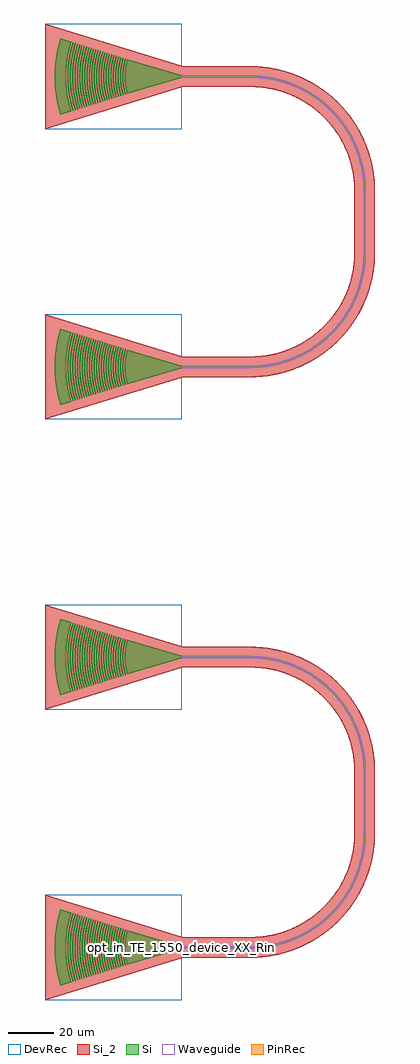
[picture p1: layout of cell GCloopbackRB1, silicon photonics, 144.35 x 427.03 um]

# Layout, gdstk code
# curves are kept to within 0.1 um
import gdstk
lib = gdstk.Library(unit=1e-6, precision=1e-09)
def R(c, l, rs):  # rectangles x0, y0, x1, y1
    for r in rs: c.add(gdstk.rectangle(r[:2], r[2:], *l))
def P(c, l, *ps):  # polygons
    for p in ps: c.add(gdstk.Polygon(p, *l))
Si = (1, 0)
Si_2 = (1, 2)
PinRec = (1, 10)
Waveguide = (1, 99)
DevRec = (68, 0)

waveguide_126 = lib.new_cell('Waveguide$126')
P(waveguide_126, Si, [(59.858,253.5),(59.858,254.5),(90.303,254.502),(94.737,254.742),(98.259,255.218),(102.168,256.055),(105.997,257.205),(109.312,258.484),(113.705,260.623),(118.23,263.438),(122.091,266.433),(125.636,269.792),(128.834,273.486),(131.652,277.477),(134.064,281.726),(136.044,286.192),(137.203,289.551),(138.214,293.419),(138.91,297.355),(139.287,301.336),(139.356,331.445),(139.071,336.321),(138.562,339.838),(137.803,343.31),(136.796,346.718),(135.548,350.045),(134.064,353.274),(132.351,356.389),(130.42,359.372),(128.28,362.209),(125.636,365.208),(123.09,367.687),(120.021,370.249),(116.756,372.554),(113.314,374.59),(110.127,376.16),(106.417,377.649),(102.598,378.833),(97.382,379.925),(91.635,380.468),(59.858,380.5),(59.858,381.5),(92.123,381.45),(96.188,381.102),(100.21,380.427),(104.164,379.432),(108.026,378.118),(112.986,375.893),(118.056,372.894),(122.741,369.327),(126.671,365.569),(130.174,361.412),(133.44,356.512),(136.114,351.264),(138.025,346.173),(139.546,340.018),(140.015,336.879),(140.285,333.718),(140.35,303.093),(140.112,299.021),(139.463,294.537),(138.416,290.129),(136.976,285.832),(134.751,280.872),(132.252,276.56),(129.341,272.514),(126.044,268.775),(122.048,265.089),(118.056,262.106),(113.788,259.53),(109.289,257.388),(105.464,255.972),(101.536,254.868),(97.981,254.157),(93.933,253.665),(90.311,253.502)])
P(waveguide_126, Si_2, [(59.858,249.5),(59.858,258.5),(90.267,258.502),(94.751,258.764),(99.184,259.466),(103.139,260.481),(107.361,262.001),(111.417,263.932),(114.925,266.028),(118.226,268.426),(121.303,271.114),(124.122,274.062),(126.67,277.258),(129.126,281.016),(131.029,284.631),(132.599,288.396),(133.607,291.5),(134.392,294.674),(135,298.299),(135.293,301.554),(135.356,331.409),(135.094,335.893),(134.627,339.121),(133.928,342.317),(133.003,345.448),(131.857,348.503),(130.492,351.473),(128.707,354.687),(126.906,357.413),(124.916,360.004),(122.462,362.737),(119.796,365.264),(117.262,367.322),(114.238,369.416),(111.059,371.259),(108.116,372.676),(104.696,374.013),(101.175,375.07),(96.372,376.031),(91.493,376.471),(59.858,376.5),(59.858,385.5),(90.347,385.498),(93.766,385.36),(97.656,384.939),(101.508,384.24),(104.826,383.405),(108.55,382.195),(113.942,379.89),(119.469,376.754),(124.596,372.994),(128.91,369.015),(133.07,364.212),(136.391,359.371),(139.378,353.761),(141.537,348.306),(142.523,345.026),(143.299,341.693),(143.928,337.833),(144.25,334.426),(144.356,303.511),(144.139,299.112),(143.481,294.265),(142.523,289.974),(141.053,285.308),(138.962,280.356),(136.391,275.629),(133.37,271.182),(129.587,266.693),(125.714,262.956),(121.495,259.622),(116.541,256.479),(111.726,254.08),(107.624,252.477),(103.409,251.212),(99.111,250.291),(94.746,249.719),(90.347,249.502)])
P(waveguide_126, Waveguide, [(59.858,253.5),(59.858,254.5),(90.303,254.502),(94.737,254.742),(98.259,255.218),(102.168,256.055),(105.997,257.205),(109.312,258.484),(113.705,260.623),(118.23,263.438),(122.091,266.433),(125.636,269.792),(128.834,273.486),(131.652,277.477),(134.064,281.726),(136.044,286.192),(137.203,289.551),(138.214,293.419),(138.91,297.355),(139.287,301.336),(139.356,331.445),(139.071,336.321),(138.562,339.838),(137.803,343.31),(136.796,346.718),(135.548,350.045),(134.064,353.274),(132.351,356.389),(130.42,359.372),(128.28,362.209),(125.636,365.208),(123.09,367.687),(120.021,370.249),(116.756,372.554),(113.314,374.59),(110.127,376.16),(106.417,377.649),(102.598,378.833),(97.382,379.925),(91.635,380.468),(59.858,380.5),(59.858,381.5),(92.123,381.45),(96.188,381.102),(100.21,380.427),(104.164,379.432),(108.026,378.118),(112.986,375.893),(118.056,372.894),(122.741,369.327),(126.671,365.569),(130.174,361.412),(133.44,356.512),(136.114,351.264),(138.025,346.173),(139.546,340.018),(140.015,336.879),(140.285,333.718),(140.35,303.093),(140.112,299.021),(139.463,294.537),(138.416,290.129),(136.976,285.832),(134.751,280.872),(132.252,276.56),(129.341,272.514),(126.044,268.775),(122.048,265.089),(118.056,262.106),(113.788,259.53),(109.289,257.388),(105.464,255.972),(101.536,254.868),(97.981,254.157),(93.933,253.665),(90.311,253.502)])
P(waveguide_126, DevRec, [(59.858,249.5),(59.858,258.5),(89.855,258.5),(94.777,258.767),(99.64,259.564),(103.215,260.504),(107.838,262.203),(111.169,263.799),(114.361,265.662),(117.394,267.778),(121.148,270.966),(123.726,273.615),(126.08,276.464),(128.845,280.542),(131.153,284.895),(132.567,288.31),(133.354,290.643),(134.294,294.218),(134.941,297.858),(135.292,301.537),(135.358,330.997),(135.091,335.919),(134.013,341.98),(132.977,345.528),(131.655,348.98),(130.059,352.311),(128.845,354.458),(125.322,359.505),(122.892,362.29),(120.243,364.868),(117.394,367.222),(114.361,369.338),(111.169,371.201),(107.838,372.797),(104.386,374.119),(100.838,375.155),(96,376.083),(91.091,376.484),(59.858,376.5),(59.858,385.5),(89.861,385.5),(94.282,385.32),(97.216,385.001),(101.574,384.226),(105.853,383.1),(108.652,382.157),(114.073,379.826),(119.211,376.92),(124.003,373.478),(127.338,370.566),(129.424,368.48),(133.246,363.982),(136.557,359.098),(139.321,353.883),(141.505,348.402),(142.747,344.154),(143.382,341.269),(144.039,336.893),(144.278,333.951),(144.358,303.997),(144.039,298.107),(143.382,293.731),(142.371,289.421),(141.015,285.206),(138.684,279.785),(136.557,275.902),(133.246,271.018),(129.424,266.52),(125.14,262.462),(121.652,259.735),(116.681,256.558),(111.394,253.935),(107.26,252.353),(103.012,251.111),(98.675,250.218),(94.282,249.68),(89.861,249.5)])
waveguide_126.add(gdstk.FlexPath([(59.868,254),(59.848,254)], 1, ends="flush", simple_path=True, layer=1, datatype=10))  # PinRec
waveguide_126.add(gdstk.FlexPath([(59.868,381),(59.848,381)], 1, ends="flush", simple_path=True, layer=1, datatype=10))  # PinRec
waveguide_126.add(gdstk.Label('waveguide_type=Low-loss Bend Waveguide, w=1.0um r=50um', (59.858,253.6), layer=68, texttype=0))
waveguide_126.add(gdstk.Label('Length=244.064 (microns)', (59.858,252.8), layer=68, texttype=0))
waveguide_126.add(gdstk.Label('cellName=Waveguide', (59.858,254.4), layer=68, texttype=0))
waveguide_126.add(gdstk.Label('Component=ebeam_wg_integral_895', (59.858,254.2), layer=68, texttype=0))
waveguide_126.add(gdstk.Label('Spice_param:wg_length=0.000244064 wg_width=1e-06 points="[[59.858,254.0],[139.858,254.0],[139.858,381.0],[59.858,381.0]]" radius=5e-05', (59.858,254), layer=68, texttype=0))
waveguide_126.add(gdstk.Label('Lumerical_INTERCONNECT_library=Design kits/EBeam', (59.858,253.8), layer=68, texttype=0))
waveguide_126.add(gdstk.Label('opt2', (59.858,381), layer=1, texttype=10))
waveguide_126.add(gdstk.Label('opt1', (59.858,254), layer=1, texttype=10))

waveguide_125 = lib.new_cell('Waveguide$125')
P(waveguide_125, Si, [(59.858,-0.5),(59.858,0.5),(90.303,0.502),(94.737,0.742),(98.259,1.218),(102.168,2.055),(105.997,3.205),(109.312,4.484),(113.705,6.623),(118.23,9.438),(122.091,12.433),(125.636,15.792),(128.834,19.486),(131.652,23.477),(134.064,27.726),(136.044,32.192),(137.203,35.551),(138.214,39.419),(138.91,43.355),(139.287,47.336),(139.356,77.445),(139.071,82.321),(138.562,85.838),(137.803,89.31),(136.796,92.718),(135.548,96.045),(134.064,99.274),(132.351,102.389),(130.42,105.372),(128.28,108.209),(125.636,111.208),(123.09,113.687),(120.021,116.249),(116.756,118.554),(113.314,120.59),(110.127,122.16),(106.417,123.649),(102.598,124.833),(97.382,125.925),(91.635,126.468),(59.858,126.5),(59.858,127.5),(92.123,127.45),(96.188,127.102),(100.21,126.427),(104.164,125.432),(108.026,124.118),(112.986,121.893),(118.056,118.894),(122.741,115.327),(126.671,111.569),(130.174,107.412),(133.44,102.512),(136.114,97.264),(138.025,92.173),(139.546,86.018),(140.015,82.879),(140.285,79.718),(140.35,49.093),(140.112,45.021),(139.463,40.537),(138.416,36.129),(136.976,31.832),(134.751,26.872),(132.252,22.56),(129.341,18.514),(126.044,14.775),(122.048,11.089),(118.056,8.106),(113.788,5.53),(109.289,3.388),(105.464,1.972),(101.536,0.868),(97.981,0.157),(93.933,-0.335),(90.311,-0.498)])
P(waveguide_125, Si_2, [(59.858,-4.5),(59.858,4.5),(90.267,4.502),(94.751,4.764),(99.184,5.466),(103.139,6.481),(107.361,8.001),(111.417,9.932),(114.925,12.028),(118.226,14.426),(121.303,17.114),(124.122,20.062),(126.67,23.258),(129.126,27.016),(131.029,30.631),(132.599,34.396),(133.607,37.5),(134.392,40.674),(135,44.299),(135.293,47.554),(135.356,77.409),(135.094,81.893),(134.627,85.121),(133.928,88.317),(133.003,91.448),(131.857,94.503),(130.492,97.473),(128.707,100.687),(126.906,103.413),(124.916,106.004),(122.462,108.737),(119.796,111.264),(117.262,113.322),(114.238,115.416),(111.059,117.259),(108.116,118.676),(104.696,120.013),(101.175,121.07),(96.372,122.031),(91.493,122.471),(59.858,122.5),(59.858,131.5),(90.347,131.498),(93.766,131.36),(97.656,130.939),(101.508,130.24),(104.826,129.405),(108.55,128.195),(113.942,125.89),(119.469,122.754),(124.596,118.994),(128.91,115.015),(133.07,110.212),(136.391,105.371),(139.378,99.761),(141.537,94.306),(142.523,91.026),(143.299,87.693),(143.928,83.833),(144.25,80.426),(144.356,49.511),(144.139,45.112),(143.481,40.265),(142.523,35.974),(141.053,31.308),(138.962,26.356),(136.391,21.629),(133.37,17.182),(129.587,12.693),(125.714,8.956),(121.495,5.622),(116.541,2.479),(111.726,0.08),(107.624,-1.523),(103.409,-2.788),(99.111,-3.709),(94.746,-4.281),(90.347,-4.498)])
P(waveguide_125, Waveguide, [(59.858,-0.5),(59.858,0.5),(90.303,0.502),(94.737,0.742),(98.259,1.218),(102.168,2.055),(105.997,3.205),(109.312,4.484),(113.705,6.623),(118.23,9.438),(122.091,12.433),(125.636,15.792),(128.834,19.486),(131.652,23.477),(134.064,27.726),(136.044,32.192),(137.203,35.551),(138.214,39.419),(138.91,43.355),(139.287,47.336),(139.356,77.445),(139.071,82.321),(138.562,85.838),(137.803,89.31),(136.796,92.718),(135.548,96.045),(134.064,99.274),(132.351,102.389),(130.42,105.372),(128.28,108.209),(125.636,111.208),(123.09,113.687),(120.021,116.249),(116.756,118.554),(113.314,120.59),(110.127,122.16),(106.417,123.649),(102.598,124.833),(97.382,125.925),(91.635,126.468),(59.858,126.5),(59.858,127.5),(92.123,127.45),(96.188,127.102),(100.21,126.427),(104.164,125.432),(108.026,124.118),(112.986,121.893),(118.056,118.894),(122.741,115.327),(126.671,111.569),(130.174,107.412),(133.44,102.512),(136.114,97.264),(138.025,92.173),(139.546,86.018),(140.015,82.879),(140.285,79.718),(140.35,49.093),(140.112,45.021),(139.463,40.537),(138.416,36.129),(136.976,31.832),(134.751,26.872),(132.252,22.56),(129.341,18.514),(126.044,14.775),(122.048,11.089),(118.056,8.106),(113.788,5.53),(109.289,3.388),(105.464,1.972),(101.536,0.868),(97.981,0.157),(93.933,-0.335),(90.311,-0.498)])
P(waveguide_125, DevRec, [(59.858,-4.5),(59.858,4.5),(89.855,4.5),(94.777,4.767),(99.64,5.564),(103.215,6.504),(107.838,8.203),(111.169,9.799),(114.361,11.662),(117.394,13.778),(121.148,16.966),(123.726,19.615),(126.08,22.464),(128.845,26.542),(131.153,30.895),(132.567,34.31),(133.354,36.643),(134.294,40.218),(134.941,43.858),(135.292,47.537),(135.358,76.997),(135.091,81.919),(134.013,87.98),(132.977,91.528),(131.655,94.98),(130.059,98.311),(128.845,100.458),(125.322,105.505),(122.892,108.29),(120.243,110.868),(117.394,113.222),(114.361,115.338),(111.169,117.201),(107.838,118.797),(104.386,120.119),(100.838,121.155),(96,122.083),(91.091,122.484),(59.858,122.5),(59.858,131.5),(89.861,131.5),(94.282,131.32),(97.216,131.001),(101.574,130.226),(105.853,129.1),(108.652,128.157),(114.073,125.826),(119.211,122.92),(124.003,119.478),(127.338,116.566),(129.424,114.48),(133.246,109.982),(136.557,105.098),(139.321,99.883),(141.505,94.402),(142.747,90.154),(143.382,87.269),(144.039,82.893),(144.278,79.951),(144.358,49.997),(144.039,44.107),(143.382,39.731),(142.371,35.421),(141.015,31.206),(138.684,25.785),(136.557,21.902),(133.246,17.018),(129.424,12.52),(125.14,8.462),(121.652,5.735),(116.681,2.558),(111.394,-0.065),(107.26,-1.647),(103.012,-2.889),(98.675,-3.782),(94.282,-4.32),(89.861,-4.5)])
waveguide_125.add(gdstk.FlexPath([(59.868,0),(59.848,0)], 1, ends="flush", simple_path=True, layer=1, datatype=10))  # PinRec
waveguide_125.add(gdstk.FlexPath([(59.868,127),(59.848,127)], 1, ends="flush", simple_path=True, layer=1, datatype=10))  # PinRec
waveguide_125.add(gdstk.Label('waveguide_type=Low-loss Bend Waveguide, w=1.0um r=50um', (59.858,-0.4), layer=68, texttype=0))
waveguide_125.add(gdstk.Label('Length=244.064 (microns)', (59.858,-1.2), layer=68, texttype=0))
waveguide_125.add(gdstk.Label('Spice_param:wg_length=0.000244064 wg_width=1e-06 points="[[59.858,0.0],[139.858,0.0],[139.858,127.0],[59.858,127.0]]" radius=5e-05', (59.858,0), layer=68, texttype=0))
waveguide_125.add(gdstk.Label('cellName=Waveguide', (59.858,0.4), layer=68, texttype=0))
waveguide_125.add(gdstk.Label('Component=ebeam_wg_integral_895', (59.858,0.2), layer=68, texttype=0))
waveguide_125.add(gdstk.Label('Lumerical_INTERCONNECT_library=Design kits/EBeam', (59.858,-0.2), layer=68, texttype=0))
waveguide_125.add(gdstk.Label('opt2', (59.858,127), layer=1, texttype=10))
waveguide_125.add(gdstk.Label('opt1', (59.858,0), layer=1, texttype=10))

bto_universal_gc_1 = lib.new_cell('BTO_Universal_GC$1')
P(bto_universal_gc_1, Si, [(-45.78,-14.397),(-46.717,-10.979),(-47.4,-7.502),(-47.859,-3.542),(-47.99,0),(-47.859,3.542),(-47.4,7.502),(-46.717,10.979),(-45.78,14.397),(-45.331,14.256),(-46.259,10.872),(-46.936,7.428),(-47.356,3.944),(-47.52,0),(-47.356,-3.944),(-46.936,-7.428),(-46.259,-10.872),(-45.331,-14.256)],
  [(-43.786,-13.77),(-44.695,-10.45),(-45.352,-7.072),(-45.754,-3.654),(-45.899,-0.215),(-45.787,3.225),(-45.352,7.072),(-44.695,10.45),(-43.786,13.77),(-43.337,13.629),(-44.237,10.343),(-44.887,7),(-45.286,3.616),(-45.429,0.213),(-45.317,-3.192),(-44.951,-6.578),(-44.332,-9.928),(-43.337,-13.629)],
  [(-42.789,-13.456),(-43.689,-10.161),(-44.335,-6.807),(-44.725,-3.413),(-44.855,0),(-44.725,3.413),(-44.335,6.807),(-43.689,10.161),(-42.789,13.457),(-42.34,13.315),(-43.231,10.055),(-43.871,6.736),(-44.256,3.378),(-44.385,0),(-44.256,-3.378),(-43.871,-6.736),(-43.231,-10.055),(-42.34,-13.315)],
  [(-41.792,-13.143),(-42.683,-9.873),(-43.319,-6.544),(-43.695,-3.175),(-43.809,-0.212),(-43.695,3.175),(-43.319,6.544),(-42.683,9.873),(-41.792,13.143),(-41.343,13.002),(-42.225,9.767),(-42.854,6.474),(-43.226,3.141),(-43.339,0.21),(-43.226,-3.141),(-42.854,-6.474),(-42.225,-9.767),(-41.343,-13.002)],
  [(-39.798,-12.516),(-40.565,-9.75),(-41.205,-6.534),(-41.591,-3.277),(-41.72,0),(-41.591,3.277),(-41.205,6.534),(-40.565,9.75),(-39.798,12.516),(-39.35,12.375),(-40.2,9.246),(-40.741,6.46),(-41.122,3.24),(-41.25,0),(-41.122,-3.24),(-40.741,-6.46),(-40.2,-9.246),(-39.35,-12.375)],
  [(-23.848,-7.5),(-24.723,-3.714),(-24.999,-0.162),(-24.723,3.714),(-23.848,7.5),(0,0.5),(0,-0.5)],
  [(-24.845,-7.813),(-25.368,-5.9),(-25.743,-3.953),(-25.969,-1.982),(-26.045,0),(-25.969,1.982),(-25.743,3.953),(-25.368,5.9),(-24.845,7.814),(-24.397,7.672),(-24.91,5.794),(-25.279,3.881),(-25.501,1.946),(-25.575,0),(-25.501,-1.946),(-25.279,-3.881),(-24.91,-5.794),(-24.397,-7.672)],
  [(-38.801,-12.202),(-39.652,-9.066),(-40.188,-6.273),(-40.561,-3.045),(-40.674,-0.203),(-40.561,3.045),(-40.249,5.871),(-39.652,9.066),(-38.801,12.203),(-38.353,12.061),(-39.102,9.352),(-39.724,6.201),(-40.06,3.41),(-40.204,0.201),(-40.092,-3.01),(-39.724,-6.201),(-39.102,-9.352),(-38.353,-12.061)],
  [(-25.842,-8.127),(-26.376,-6.178),(-26.763,-4.194),(-27.002,-2.187),(-27.089,-0.168),(-27.002,2.187),(-26.763,4.194),(-26.376,6.178),(-25.842,8.127),(-25.394,7.986),(-25.918,6.071),(-26.299,4.122),(-26.533,2.15),(-26.619,0.166),(-26.558,-1.819),(-26.299,-4.122),(-25.918,-6.071),(-25.394,-7.986)],
  [(-46.776,-14.71),(-47.823,-10.837),(-48.484,-7.331),(-48.889,-3.787),(-49.034,-0.223),(-48.889,3.787),(-48.484,7.331),(-47.823,10.837),(-46.776,14.711),(-46.328,14.569),(-47.364,10.733),(-48.019,7.261),(-48.42,3.751),(-48.564,0.221),(-48.42,-3.751),(-48.019,-7.261),(-47.364,-10.733),(-46.328,-14.569)],
  [(-44.783,-14.083),(-45.712,-10.688),(-46.384,-7.233),(-46.796,-3.737),(-46.944,-0.22),(-46.829,3.298),(-46.45,6.798),(-45.712,10.688),(-44.783,14.084),(-44.334,13.942),(-45.254,10.581),(-45.92,7.161),(-46.327,3.7),(-46.474,0.218),(-46.36,-3.265),(-45.92,-7.161),(-45.254,-10.581),(-44.334,-13.942)],
  [(-26.839,-8.44),(-27.384,-6.457),(-27.783,-4.439),(-28.033,-2.397),(-28.135,0),(-28.033,2.397),(-27.783,4.439),(-27.384,6.457),(-26.839,8.441),(-26.39,8.299),(-26.926,6.349),(-27.318,4.365),(-27.591,2.021),(-27.665,0),(-27.591,-2.021),(-27.318,-4.365),(-26.926,-6.349),(-26.39,-8.299)],
  [(-37.805,-11.889),(-38.554,-9.174),(-39.171,-6.014),(-39.53,-2.815),(-39.63,0),(-39.53,2.815),(-39.171,6.014),(-38.554,9.174),(-37.805,11.889),(-37.356,11.748),(-38.096,9.065),(-38.706,5.943),(-39.031,3.178),(-39.16,0),(-39.031,-3.178),(-38.706,-5.943),(-38.096,-9.065),(-37.356,-11.748)],
  [(-30.827,-9.694),(-31.412,-7.587),(-31.913,-5.084),(-32.214,-2.55),(-32.315,0),(-32.214,2.55),(-31.913,5.084),(-31.412,7.587),(-30.827,9.695),(-30.378,9.553),(-31.037,7.126),(-31.503,4.655),(-31.772,2.155),(-31.845,0),(-31.772,-2.155),(-31.503,-4.655),(-31.037,-7.126),(-30.378,-9.553)],
  [(-47.773,-15.024),(-48.727,-11.563),(-49.5,-7.6),(-49.917,-4.035),(-50.08,0),(-49.917,4.035),(-49.5,7.6),(-48.727,11.563),(-47.773,15.024),(-47.325,14.883),(-48.37,11.022),(-49.035,7.529),(-49.482,3.554),(-49.61,0),(-49.482,-3.554),(-49.035,-7.529),(-48.37,-11.022),(-47.325,-14.883)],
  [(-40.795,-12.829),(-41.677,-9.585),(-42.301,-6.282),(-42.664,-2.94),(-42.765,0),(-42.664,2.94),(-42.301,6.282),(-41.677,9.585),(-40.795,12.83),(-40.347,12.688),(-41.219,9.48),(-41.773,6.624),(-42.164,3.322),(-42.295,0),(-42.164,-3.322),(-41.773,-6.624),(-41.219,-9.48),(-40.347,-12.688)],
  [(-27.836,-8.754),(-28.391,-6.738),(-28.801,-4.687),(-29.063,-2.611),(-29.179,-0.174),(-29.117,1.916),(-28.855,4.342),(-28.47,6.398),(-27.836,8.754),(-27.387,8.613),(-27.934,6.629),(-28.337,4.611),(-28.595,2.569),(-28.709,0.172),(-28.648,-1.885),(-28.39,-4.272),(-27.934,-6.629),(-27.387,-8.613)],
  [(-36.808,-11.575),(-37.548,-8.886),(-38.092,-6.151),(-38.469,-2.986),(-38.584,-0.199),(-38.498,2.588),(-38.153,5.757),(-37.638,8.498),(-36.808,11.576),(-36.359,11.434),(-37.179,8.395),(-37.688,5.687),(-38,2.95),(-38.114,0.197),(-38.029,-2.557),(-37.688,-5.687),(-37.179,-8.395),(-36.359,-11.434)],
  [(-34.814,-10.948),(-35.524,-8.361),(-36.043,-5.728),(-36.366,-3.064),(-36.495,0),(-36.366,3.064),(-36.043,5.728),(-35.524,8.361),(-34.814,10.949),(-34.365,10.807),(-35.067,8.253),(-35.636,5.28),(-35.927,2.647),(-36.025,0),(-35.927,-2.647),(-35.636,-5.28),(-35.067,-8.253),(-34.365,-10.807)],
  [(-31.823,-10.008),(-32.503,-7.512),(-32.988,-4.971),(-33.274,-2.4),(-33.359,-0.185),(-33.274,2.4),(-32.988,4.971),(-32.503,7.512),(-31.823,10.008),(-31.375,9.867),(-32.045,7.406),(-32.523,4.901),(-32.776,2.73),(-32.889,0.182),(-32.804,-2.367),(-32.523,-4.901),(-32.045,-7.406),(-31.375,-9.867)],
  [(-35.811,-11.262),(-36.542,-8.6),(-37.135,-5.502),(-37.439,-2.758),(-37.54,0),(-37.439,2.758),(-37.135,5.502),(-36.542,8.6),(-35.811,11.262),(-35.362,11.121),(-36.084,8.492),(-36.61,5.818),(-36.97,2.724),(-37.07,0),(-36.97,-2.724),(-36.61,-5.818),(-36.084,-8.492),(-35.362,-11.121)],
  [(-53.091,-16.696),(-54.235,-12.49),(-54.973,-8.685),(-55.484,-4.356),(-55.655,0),(-55.484,4.356),(-54.973,8.685),(-54.235,12.49),(-53.091,16.696),(-48.322,15.196),(-49.363,11.368),(-50.101,7.469),(-50.532,3.525),(-50.655,0),(-50.532,-3.525),(-50.101,-7.469),(-49.363,-11.368),(-48.322,-15.196)],
  [(-28.833,-9.067),(-29.399,-7.019),(-29.875,-4.587),(-30.123,-2.477),(-30.225,0),(-30.123,2.477),(-29.875,4.587),(-29.399,7.019),(-28.833,9.068),(-28.384,8.926),(-29.02,6.571),(-29.41,4.516),(-29.655,2.438),(-29.755,0),(-29.655,-2.438),(-29.41,-4.516),(-29.02,-6.571),(-28.384,-8.926)],
  [(-29.83,-9.381),(-30.487,-6.952),(-30.894,-4.834),(-31.183,-2.335),(-31.269,-0.18),(-31.183,2.335),(-30.948,4.479),(-30.487,6.952),(-29.83,9.381),(-29.381,9.24),(-30.029,6.848),(-30.429,4.762),(-30.714,2.3),(-30.799,0.177),(-30.714,-2.3),(-30.482,-4.411),(-30.029,-6.848),(-29.381,-9.24)],
  [(-32.82,-10.321),(-33.511,-7.794),(-34.007,-5.221),(-34.305,-2.618),(-34.405,0),(-34.305,2.618),(-34.007,5.221),(-33.511,7.794),(-32.82,10.322),(-32.372,10.18),(-33.053,7.687),(-33.542,5.15),(-33.836,2.582),(-33.935,0),(-33.836,-2.582),(-33.542,-5.15),(-33.053,-7.687),(-32.372,-10.18)],
  [(-33.817,-10.635),(-34.518,-8.077),(-35.025,-5.473),(-35.336,-2.839),(-35.449,-0.189),(-35.336,2.839),(-35.025,5.473),(-34.518,8.077),(-33.817,10.635),(-33.369,10.494),(-34.06,7.97),(-34.56,5.401),(-34.867,2.802),(-34.979,0.187),(-34.895,-2.429),(-34.616,-5.031),(-34.06,-7.97),(-33.369,-10.494)])
P(bto_universal_gc_1, Si_2, [(-59.848,-23.014),(-59.848,23.014),(0,4.693),(0,-4.693)])
R(bto_universal_gc_1, DevRec, [(-59.848,-23.014,0,23.014)])
bto_universal_gc_1.add(gdstk.FlexPath([(-0.01,0),(0.01,0)], 1, ends="flush", simple_path=True, layer=1, datatype=10))  # PinRec
bto_universal_gc_1.add(gdstk.Label('Length=276.897 (microns)', (-59.848,16.014), layer=68, texttype=0))
bto_universal_gc_1.add(gdstk.Label('Component_ID=2', (-59.848,18.014), layer=68, texttype=0))
bto_universal_gc_1.add(gdstk.Label('cellName=BTO_Universal_GC', (-59.848,19.014), layer=68, texttype=0))
bto_universal_gc_1.add(gdstk.Label('Lumerical_INTERCONNECT_component=BTO_Universal_GC', (-59.848,20.014), layer=68, texttype=0))
bto_universal_gc_1.add(gdstk.Label('Spice_param:wg_length=0.000276897 wg_width=5e-07 points=[[-42.81,125.25],[33.69,125.25],[33.69,-1.75],[-42.81,-1.75]] radius=5e-06', (-59.848,17.014), layer=68, texttype=0))
bto_universal_gc_1.add(gdstk.Label('Component=BTO_Universal_GC', (-59.848,21.014), layer=68, texttype=0))
bto_universal_gc_1.add(gdstk.Label('Lumerical_INTERCONNECT_library=Design kits/Shallow_Etch_BTO', (-59.848,22.014), layer=68, texttype=0))
bto_universal_gc_1.add(gdstk.Label('opt1', (0,0), layer=1, texttype=10))

gcloopbackrb1 = lib.new_cell('GCloopbackRB1')
gcloopbackrb1.add(gdstk.Reference(waveguide_126, (0,0)))
gcloopbackrb1.add(gdstk.Reference(waveguide_125, (0,0)))
gcloopbackrb1.add(gdstk.Reference(bto_universal_gc_1, (59.858,0)))
gcloopbackrb1.add(gdstk.Reference(bto_universal_gc_1, (59.858,127)))
gcloopbackrb1.add(gdstk.Reference(bto_universal_gc_1, (59.858,254)))
gcloopbackrb1.add(gdstk.Reference(bto_universal_gc_1, (59.858,381)))
gcloopbackrb1.add(gdstk.Label('opt_in_TE_1550_device_XX_Ringsweep_GCloopbackRB1', (59.858,0), layer=10, texttype=0))

lib.write_gds('GCloopbackRB1.gds')
